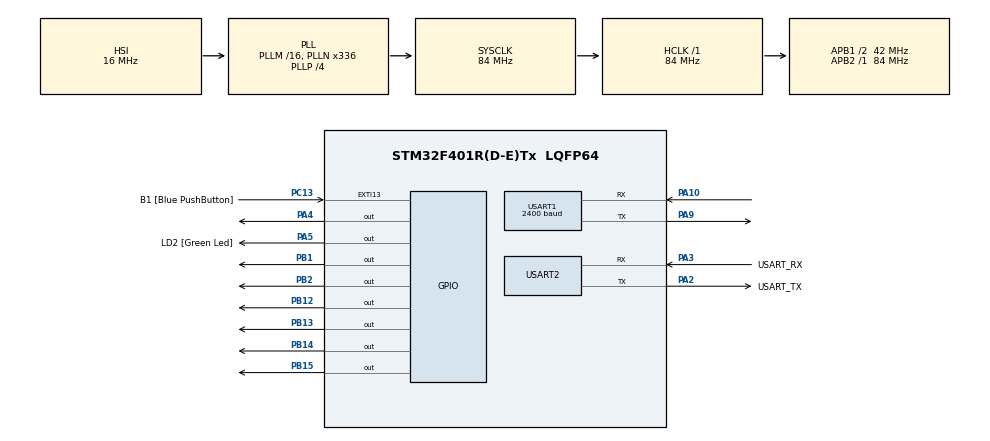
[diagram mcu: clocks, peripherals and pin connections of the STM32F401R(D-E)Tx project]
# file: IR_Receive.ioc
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Mcu.Family=STM32F4
Mcu.Name=STM32F401R(D-E)Tx
Mcu.Package=LQFP64
NVIC.PriorityGroup=NVIC_PRIORITYGROUP_4
NVIC.USART1_IRQn=true\:0\:0\:false\:false\:true\:true\:true\:true
PA10.Mode=Asynchronous
PA10.Signal=USART1_RX
PA13.GPIO_Label=TMS
PA13.Mode=Trace_Asynchronous_SW
PA13.Signal=SYS_JTMS-SWDIO
PA14.GPIO_Label=TCK
PA14.Mode=Trace_Asynchronous_SW
PA14.Signal=SYS_JTCK-SWCLK
PA2.GPIO_Label=USART_TX
PA2.GPIO_Mode=GPIO_MODE_AF_PP
PA2.GPIO_PuPd=GPIO_NOPULL
PA2.GPIO_Speed=GPIO_SPEED_FREQ_LOW
PA2.Mode=Asynchronous
PA2.Signal=USART2_TX
PA3.GPIO_Label=USART_RX
PA3.GPIO_Mode=GPIO_MODE_AF_PP
PA3.GPIO_PuPd=GPIO_NOPULL
PA3.GPIO_Speed=GPIO_SPEED_FREQ_LOW
PA3.Mode=Asynchronous
PA3.Signal=USART2_RX
PA4.Signal=GPIO_Output
PA5.GPIO_Label=LD2 [Green Led]
PA5.GPIO_Mode=GPIO_MODE_OUTPUT_PP
PA5.GPIO_PuPd=GPIO_NOPULL
PA5.GPIO_Speed=GPIO_SPEED_FREQ_LOW
PA5.Signal=GPIO_Output
PA9.Mode=Asynchronous
PA9.Signal=USART1_TX
PB1.Signal=GPIO_Output
PB12.Signal=GPIO_Output
PB13.Signal=GPIO_Output
PB14.Signal=GPIO_Output
PB15.Signal=GPIO_Output
PB2.Signal=GPIO_Output
PB3.GPIO_Label=SWO
PB3.Mode=Trace_Asynchronous_SW
PB3.Signal=SYS_JTDO-SWO
PC13-ANTI_TAMP.GPIO_Label=B1 [Blue PushButton]
PC13-ANTI_TAMP.GPIO_ModeDefaultEXTI=GPIO_MODE_IT_FALLING
PC13-ANTI_TAMP.GPIO_PuPd=GPIO_NOPULL
PC13-ANTI_TAMP.Signal=GPXTI13
PC14-OSC32_IN.Mode=LSE-External-Oscillator
PC14-OSC32_IN.Signal=RCC_OSC32_IN
PC15-OSC32_OUT.Mode=LSE-External-Oscillator
PC15-OSC32_OUT.Signal=RCC_OSC32_OUT
PH0\ -\ OSC_IN.Mode=HSE-External-Clock-Source
PH0\ -\ OSC_IN.Signal=RCC_OSC_IN
PH1\ -\ OSC_OUT.Mode=HSE-External-Clock-Source
PH1\ -\ OSC_OUT.Signal=RCC_OSC_OUT
ProjectManager.HeapSize=0x200
ProjectManager.StackSize=0x400
ProjectManager.TargetToolchain=STM32CubeIDE
RCC.48MHZClocksFreq_Value=48000000
RCC.AHBFreq_Value=84000000
RCC.APB1CLKDivider=RCC_HCLK_DIV2
RCC.APB1Freq_Value=42000000
RCC.APB1TimFreq_Value=84000000
RCC.APB2Freq_Value=84000000
RCC.APB2TimFreq_Value=84000000
RCC.CortexFreq_Value=84000000
RCC.HCLKFreq_Value=84000000
RCC.HSE_VALUE=8000000
RCC.HSI_VALUE=16000000
RCC.PLLN=336
RCC.PLLP=RCC_PLLP_DIV4
RCC.PLLQ=7
RCC.SYSCLKFreq_VALUE=84000000
RCC.SYSCLKSource=RCC_SYSCLKSOURCE_PLLCLK
RCC.VCOOutputFreq_Value=336000000
USART1.BaudRate=2400
USART1.VirtualMode=VM_ASYNC
USART2.VirtualMode=VM_ASYNC
board=NUCLEO-F401RE

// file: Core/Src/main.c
/* USER CODE BEGIN Header */
/**
  **************************
  * @file           : main.c
  * @brief          : Main program body
  **************************
  * @attention
  *
  * Copyright (c) 2025 STMicroelectronics.
  * All rights reserved.
  *
  * This software is licensed under terms that can be found in the LICENSE file
  * in the root directory of this software component.
  * If no LICENSE file comes with this software, it is provided AS-IS.
  *
  **************************
  */
/* USER CODE END Header */
#include "main.h"

/* USER CODE BEGIN Includes */
#include "stdio.h"
#include "string.h"
#include "PMDB16_LCD.h"
/* USER CODE END Includes */

/* USER CODE BEGIN PD */
#define N_CHAR 16 //for LCD
/* USER CODE END PD */

UART_HandleTypeDef huart1;
UART_HandleTypeDef huart2;

/* USER CODE BEGIN PV */
uint8_t char_receive;
char string_lcd[N_CHAR + 1];
int length_lcd = 0;

/* USER CODE END PV */

void SystemClock_Config(void);
static void MX_GPIO_Init(void);
static void MX_USART2_UART_Init(void);
static void MX_USART1_UART_Init(void);

/* USER CODE BEGIN 0 */

void HAL_UARTEx_RxEventCallback(UART_HandleTypeDef *huart, uint16_t Size){
	if (huart->Instance == USART1){
		length_lcd = strlen((char*) string_lcd);

		if (length_lcd >= N_CHAR) {
			string_lcd[0] = '\0';
			length_lcd = 0;
		}

		string_lcd[length_lcd] = char_receive;
		string_lcd[length_lcd + 1] = '\0';

		lcd_println(string_lcd, 0);

		HAL_UARTEx_ReceiveToIdle_IT(&huart1, &char_receive, 1);
	}
}
/* USER CODE END 0 */

int main(void)
{

  /* MCU Configuration--------------------------------------------------------*/

  /* Reset of all peripherals, Initializes the Flash interface and the Systick. */
  HAL_Init();

  /* Configure the system clock */
  SystemClock_Config();

  /* Initialize all configured peripherals */
  MX_GPIO_Init();
  MX_USART2_UART_Init();
  MX_USART1_UART_Init();
  /* USER CODE BEGIN 2 */
  lcd_initialize();
  lcd_backlight_ON();

  HAL_UARTEx_ReceiveToIdle_IT(&huart1, &char_receive, 1);
  /* USER CODE END 2 */

  /* Infinite loop */
  /* USER CODE BEGIN WHILE */
  while (1) //FOR RECEIVE
  {
    /* USER CODE END WHILE */

  }
}

void SystemClock_Config(void)
{
  RCC_OscInitTypeDef RCC_OscInitStruct = {0};
  RCC_ClkInitTypeDef RCC_ClkInitStruct = {0};

  /** Configure the main internal regulator output voltage
  */
  __HAL_RCC_PWR_CLK_ENABLE();
  __HAL_PWR_VOLTAGESCALING_CONFIG(PWR_REGULATOR_VOLTAGE_SCALE2);

  /** Initializes the RCC Oscillators according to the specified parameters
  * in the RCC_OscInitTypeDef structure.
  */
  RCC_OscInitStruct.OscillatorType = RCC_OSCILLATORTYPE_HSI;
  RCC_OscInitStruct.HSIState = RCC_HSI_ON;
  RCC_OscInitStruct.HSICalibrationValue = RCC_HSICALIBRATION_DEFAULT;
  RCC_OscInitStruct.PLL.PLLState = RCC_PLL_ON;
  RCC_OscInitStruct.PLL.PLLSource = RCC_PLLSOURCE_HSI;
  RCC_OscInitStruct.PLL.PLLM = 16;
  RCC_OscInitStruct.PLL.PLLN = 336;
  RCC_OscInitStruct.PLL.PLLP = RCC_PLLP_DIV4;
  RCC_OscInitStruct.PLL.PLLQ = 7;
  if (HAL_RCC_OscConfig(&RCC_OscInitStruct) != HAL_OK)
  {
    Error_Handler();
  }

  /** Initializes the CPU, AHB and APB buses clocks
  */
  RCC_ClkInitStruct.ClockType = RCC_CLOCKTYPE_HCLK|RCC_CLOCKTYPE_SYSCLK
                              |RCC_CLOCKTYPE_PCLK1|RCC_CLOCKTYPE_PCLK2;
  RCC_ClkInitStruct.SYSCLKSource = RCC_SYSCLKSOURCE_PLLCLK;
  RCC_ClkInitStruct.AHBCLKDivider = RCC_SYSCLK_DIV1;
  RCC_ClkInitStruct.APB1CLKDivider = RCC_HCLK_DIV2;
  RCC_ClkInitStruct.APB2CLKDivider = RCC_HCLK_DIV1;

  if (HAL_RCC_ClockConfig(&RCC_ClkInitStruct, FLASH_LATENCY_2) != HAL_OK)
  {
    Error_Handler();
  }
}

static void MX_USART1_UART_Init(void)
{

  huart1.Instance = USART1;
  huart1.Init.BaudRate = 2400;
  huart1.Init.WordLength = UART_WORDLENGTH_8B;
  huart1.Init.StopBits = UART_STOPBITS_1;
  huart1.Init.Parity = UART_PARITY_NONE;
  huart1.Init.Mode = UART_MODE_TX_RX;
  huart1.Init.HwFlowCtl = UART_HWCONTROL_NONE;
  huart1.Init.OverSampling = UART_OVERSAMPLING_16;
  if (HAL_UART_Init(&huart1) != HAL_OK)
  {
    Error_Handler();
  }

}

static void MX_USART2_UART_Init(void)
{

  huart2.Instance = USART2;
  huart2.Init.BaudRate = 115200;
  huart2.Init.WordLength = UART_WORDLENGTH_8B;
  huart2.Init.StopBits = UART_STOPBITS_1;
  huart2.Init.Parity = UART_PARITY_NONE;
  huart2.Init.Mode = UART_MODE_TX_RX;
  huart2.Init.HwFlowCtl = UART_HWCONTROL_NONE;
  huart2.Init.OverSampling = UART_OVERSAMPLING_16;
  if (HAL_UART_Init(&huart2) != HAL_OK)
  {
    Error_Handler();
  }

}

static void MX_GPIO_Init(void)
{
  GPIO_InitTypeDef GPIO_InitStruct = {0};

  /* GPIO Ports Clock Enable */
  __HAL_RCC_GPIOC_CLK_ENABLE();
  __HAL_RCC_GPIOH_CLK_ENABLE();
  __HAL_RCC_GPIOA_CLK_ENABLE();
  __HAL_RCC_GPIOB_CLK_ENABLE();

  /*Configure GPIO pin Output Level */
  HAL_GPIO_WritePin(GPIOA, GPIO_PIN_4|LD2_Pin, GPIO_PIN_RESET);

  /*Configure GPIO pin Output Level */
  HAL_GPIO_WritePin(GPIOB, GPIO_PIN_1|GPIO_PIN_2|GPIO_PIN_12|GPIO_PIN_13
                          |GPIO_PIN_14|GPIO_PIN_15, GPIO_PIN_RESET);

  /*Configure GPIO pin : B1_Pin */
  GPIO_InitStruct.Pin = B1_Pin;
  GPIO_InitStruct.Mode = GPIO_MODE_IT_FALLING;
  GPIO_InitStruct.Pull = GPIO_NOPULL;
  HAL_GPIO_Init(B1_GPIO_Port, &GPIO_InitStruct);

  /*Configure GPIO pins : PA4 LD2_Pin */
  GPIO_InitStruct.Pin = GPIO_PIN_4|LD2_Pin;
  GPIO_InitStruct.Mode = GPIO_MODE_OUTPUT_PP;
  GPIO_InitStruct.Pull = GPIO_NOPULL;
  GPIO_InitStruct.Speed = GPIO_SPEED_FREQ_LOW;
  HAL_GPIO_Init(GPIOA, &GPIO_InitStruct);

  /*Configure GPIO pins : PB1 PB2 PB12 PB13
                           PB14 PB15 */
  GPIO_InitStruct.Pin = GPIO_PIN_1|GPIO_PIN_2|GPIO_PIN_12|GPIO_PIN_13
                          |GPIO_PIN_14|GPIO_PIN_15;
  GPIO_InitStruct.Mode = GPIO_MODE_OUTPUT_PP;
  GPIO_InitStruct.Pull = GPIO_NOPULL;
  GPIO_InitStruct.Speed = GPIO_SPEED_FREQ_LOW;
  HAL_GPIO_Init(GPIOB, &GPIO_InitStruct);

}

void Error_Handler(void)
{
  __disable_irq();
  while (1)
  {
  }
}
